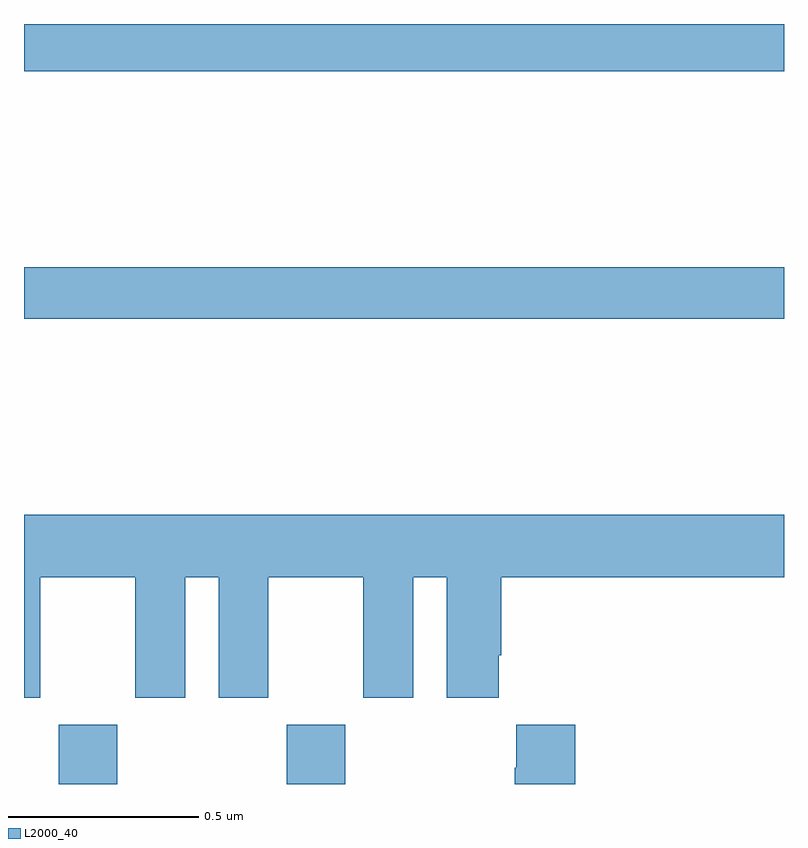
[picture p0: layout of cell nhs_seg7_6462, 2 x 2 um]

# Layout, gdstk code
import gdstk
lib = gdstk.Library(unit=1e-6, precision=1e-09)
def R(c, l, rs):  # rectangles x0, y0, x1, y1
    for r in rs: c.add(gdstk.rectangle(r[:2], r[2:], *l))
def P(c, l, *ps):  # polygons
    for p in ps: c.add(gdstk.Polygon(p, *l))
L2000_40 = (2000, 40)

nhs_seg7_6462 = lib.new_cell('nhs_seg7_6462')
R(nhs_seg7_6462, L2000_40, [(198.091,1072,198.246,1072.156), (198.691,1072,198.846,1072.156), (198,1073.224,200,1073.36), (198,1073.876,200,1074)])
P(nhs_seg7_6462, L2000_40, [(198.043,1072.544),(198.293,1072.544),(198.293,1072.227),(198.424,1072.227),(198.424,1072.544),(198.512,1072.544),(198.512,1072.227),(198.643,1072.227),(198.643,1072.544),(198.893,1072.544),(198.893,1072.227),(199.024,1072.227),(199.024,1072.544),(199.112,1072.544),(199.112,1072.227),(199.249,1072.227),(199.249,1072.339),(199.256,1072.339),(199.256,1072.544),(200,1072.544),(200,1072.708),(198,1072.708),(198,1072.227),(198.043,1072.227)],
  [(199.451,1072.156),(199.295,1072.156),(199.295,1072.043),(199.291,1072.043),(199.291,1072),(199.451,1072)])

lib.write_gds('nhs_seg7_6462.gds')
